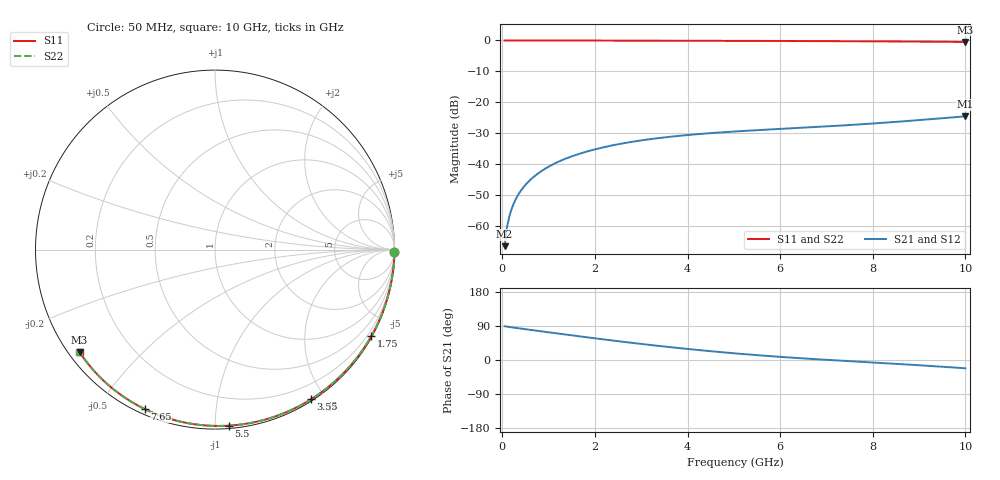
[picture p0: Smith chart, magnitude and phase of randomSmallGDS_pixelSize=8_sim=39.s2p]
! freq	dB(S11)	phase(S11)	dB(S12)	phase(S12)
!  dB(S21)	phase(S21)	dB(S22)	phase(S22)
!S-par simulation data
#  GHz  S  DB  R 50
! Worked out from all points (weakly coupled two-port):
!   200 points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, 50 MHz to 10 GHz, reference 50 ohm
!   highest |S21| = -24.58 dB at 10 GHz (marker M1); lowest = -66.6 dB at 50 MHz (marker M2)
!   lowest |S11| = -0.5 dB at 10 GHz (marker M3), VSWR 36.34, Z = 1.53 - j16.8 ohm
!   |S11| at or under -10 dB: nowhere
!   |S22| runs from -0.5 to 0.0 dB; largest |S21 - S12| = 0
!   S11 on the Smith chart (normalised r, x): 50 MHz: open; 1.75 GHz: 0.03, -3.86; 3.55 GHz: 0.02, -1.83; 5.5 GHz: 0.02, -1.08; 7.65 GHz: 0.02, -0.65; 10 GHz: 0.03, -0.34
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0.05  -0.00 -0.8  -66.65 89.0  -66.65 89.0  -0.00 -0.8
0.1  -0.00 -1.7  -60.64 88.1  -60.64 88.1  -0.00 -1.7
0.15  -0.00 -2.5  -57.13 87.1  -57.13 87.1  -0.00 -2.5
0.2  -0.00 -3.4  -54.65 86.2  -54.65 86.2  -0.00 -3.4
0.25  -0.00 -4.2  -52.73 85.4  -52.73 85.4  -0.00 -4.2
0.35  -0.00 -5.9  -49.84 83.7  -49.84 83.7  -0.00 -5.9
0.5  -0.01 -8.4  -46.78 81.2  -46.78 81.2  -0.01 -8.4
0.7  -0.01 -11.8  -43.91 77.9  -43.91 77.9  -0.01 -11.8
1  -0.02 -16.7  -40.90 73.1  -40.90 73.1  -0.02 -16.7
1.35  -0.03 -22.5  -38.41 67.4  -38.41 67.4  -0.03 -22.5
1.75  -0.04 -29.0  -36.32 61.1  -36.32 61.1  -0.04 -29.0
2.5  -0.05 -41.0  -33.63 49.6  -33.63 49.6  -0.05 -41.0
3.4  -0.07 -55.0  -31.58 36.9  -31.58 36.9  -0.07 -55.0
3.55  -0.08 -57.3  -31.32 34.9  -31.32 34.9  -0.08 -57.3
4.3  -0.10 -68.4  -30.25 25.5  -30.25 25.5  -0.10 -68.5
5.05  -0.12 -79.2  -29.46 17.2  -29.46 17.2  -0.12 -79.2
5.5  -0.14 -85.5  -29.07 12.8  -29.07 12.8  -0.14 -85.5
6.7  -0.20 -101.6  -28.10 2.7  -28.10 2.7  -0.20 -101.6
7.65  -0.26 -113.8  -27.26 -4.1  -27.26 -4.1  -0.26 -113.9
8.35  -0.31 -122.6  -26.54 -9.0  -26.54 -9.0  -0.31 -122.6
9.2  -0.39 -133.1  -25.56 -15.4  -25.56 -15.4  -0.39 -133.1
10  -0.48 -142.9  -24.58 -21.9  -24.58 -21.9  -0.48 -142.9
